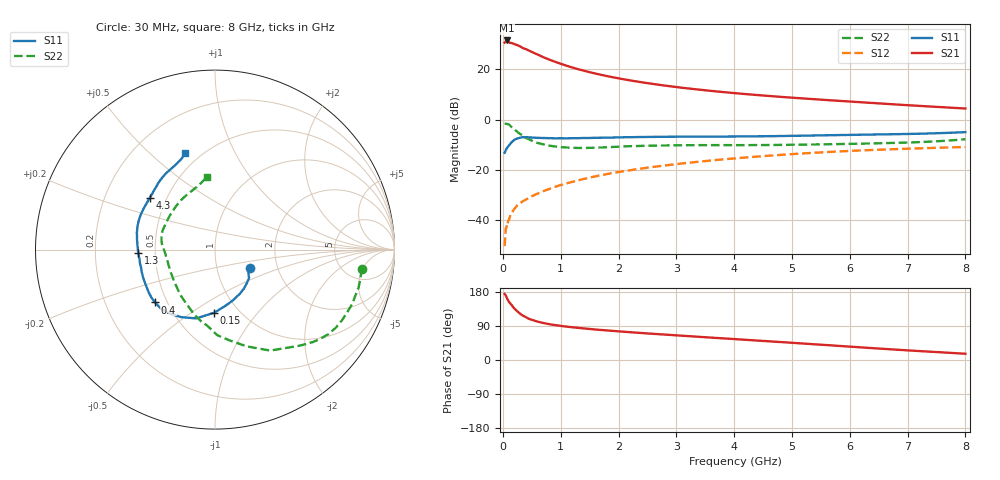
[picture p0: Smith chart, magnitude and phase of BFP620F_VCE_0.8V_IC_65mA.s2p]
! Infineon Technologies  Discrete & RF Semiconductors
! BFP620F
! VCE =  0.8 V,  IC =  65 mA
! Common Emitter S-Parameters:  Dec 2014
# GHz  S  MA  R  50
!  f  S11  S21  S12  S22
! GHz  MAG  ANG  MAG  ANG  MAG  ANG  MAG  ANG
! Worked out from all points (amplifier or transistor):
!   95 points, 30 MHz to 8 GHz, reference 50 ohm
!   highest |S21| = 31.6 dB at 70 MHz (marker M1)
!   |S21| within 3 dB of that: start of sweep to 343.7 MHz
!   unconditionally stable (mu >= 1): start of sweep to 38.78 MHz; 1.418 GHz to end of sweep
!   at 300 MHz: K = 0.59, MSG = 31.2 dB, |S12| = -33.3 dB
!   at 3.3 GHz: K = 1.04, MAG = 13.3 dB, |S12| = -17.0 dB
!   at 8 GHz: K = 1.06, MAG = 6.1 dB, |S12| = -10.9 dB
!   S11 on the Smith chart (normalised r, x): 30 MHz: 1.44, -0.31; 150 MHz: 0.77, -0.62; 400 MHz: 0.43, -0.32; 1.3 GHz: 0.40, -0.02; 4.3 GHz: 0.40, +0.29; 8 GHz: 0.41, +0.65
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0.03  0.2184 -28.3  34.17 174.3  0.003 87.9  0.8237 -7.4
0.05  0.2474 -39.9  36.65 170.3  0.0068 83.6  0.8272 -14.8
0.07  0.2705 -53.5  37.83 163.5  0.0081 86.2  0.8218 -21.8
0.09  0.2903 -65.9  36.61 157.3  0.0095 74.1  0.8098 -29.1
0.12  0.3207 -80.5  33.99 150.7  0.0114 74.3  0.7698 -40.1
0.15  0.3525 -91.2  33.84 145.3  0.0136 69.7  0.7122 -48.8
0.2  0.3974 -105.2  31.95 135.5  0.0167 65.1  0.6415 -61.3
0.25  0.4209 -116.6  30.53 128.5  0.0196 63.8  0.5688 -71.6
0.35  0.4465 -132.5  26.51 116.8  0.0237 62.7  0.4769 -88.5
0.4  0.445 -138.6  25.41 112.9  0.0255 62.2  0.4261 -95.8
0.5  0.4395 -147.1  22.32 106.1  0.0297 62.4  0.3804 -107.6
0.7  0.4297 -158.8  17.53 97.6  0.0375 63.6  0.321 -126.0
1  0.4249 -169.7  12.96 90.0  0.0496 65.2  0.2829 -146.2
1.3  0.4268 -177.5  10.13 84.8  0.0615 65.1  0.2724 -161.4
1.4  0.4297 -179.6  9.446 83.3  0.0657 64.9  0.2723 -165.4
1.9  0.4395 171.2  6.998 76.8  0.0861 63.3  0.2849 179.9
2.7  0.454 160.0  4.947 68.1  0.1179 58.7  0.3038 168.9
4.1  0.462 143.8  3.302 54.2  0.172 49.0  0.3097 154.5
4.3  0.4635 141.8  3.159 52.3  0.1795 47.5  0.3105 152.0
5.4  0.4829 131.9  2.546 41.3  0.2186 38.6  0.3197 136.9
6.7  0.5103 119.6  2.037 28.3  0.2557 27.5  0.342 118.1
8  0.5631 107.0  1.665 16.5  0.2843 17.1  0.4052 96.4
